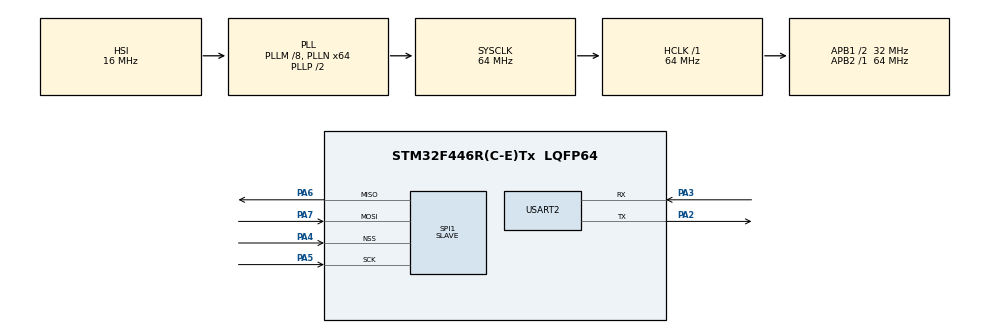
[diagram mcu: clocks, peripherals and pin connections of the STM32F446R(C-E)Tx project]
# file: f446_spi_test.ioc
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Mcu.Family=STM32F4
Mcu.Name=STM32F446R(C-E)Tx
Mcu.Package=LQFP64
NVIC.PriorityGroup=NVIC_PRIORITYGROUP_4
PA2.Mode=Asynchronous
PA2.Signal=USART2_TX
PA3.Mode=Asynchronous
PA3.Signal=USART2_RX
PA4.Mode=NSS_Signal_Hard_Input
PA4.Signal=SPI1_NSS
PA5.Mode=Full_Duplex_Slave
PA5.Signal=SPI1_SCK
PA6.Mode=Full_Duplex_Slave
PA6.Signal=SPI1_MISO
PA7.Mode=Full_Duplex_Slave
PA7.Signal=SPI1_MOSI
ProjectManager.HeapSize=0x200
ProjectManager.StackSize=0x400
ProjectManager.TargetToolchain=STM32CubeIDE
RCC.AHBFreq_Value=64000000
RCC.APB1CLKDivider=RCC_HCLK_DIV2
RCC.APB1Freq_Value=32000000
RCC.APB1TimFreq_Value=64000000
RCC.APB2Freq_Value=64000000
RCC.APB2TimFreq_Value=64000000
RCC.CortexFreq_Value=64000000
RCC.HCLKFreq_Value=64000000
RCC.PLLM=8
RCC.PLLN=64
RCC.SYSCLKFreq_VALUE=64000000
RCC.SYSCLKSource=RCC_SYSCLKSOURCE_PLLCLK
RCC.USBFreq_Value=64000000
RCC.VCOOutputFreq_Value=128000000
SPI1.CLKPhase=SPI_PHASE_1EDGE
SPI1.CLKPolarity=SPI_POLARITY_LOW
SPI1.Direction=SPI_DIRECTION_2LINES
SPI1.Mode=SPI_MODE_SLAVE
SPI1.VirtualNSS=VM_NSSHARD
SPI1.VirtualType=VM_SLAVE
USART2.VirtualMode=VM_ASYNC
board=custom

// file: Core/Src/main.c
/* USER CODE BEGIN Header */
/**
  ******************************************************************************
  * @file           : main.c
  * @brief          : Main program body
  ******************************************************************************
  * @attention
  *
  * <h2><center>&copy; Copyright (c) 2021 STMicroelectronics.
  * All rights reserved.</center></h2>
  *
  * This software component is licensed by ST under BSD 3-Clause license,
  * the "License"; You may not use this file except in compliance with the
  * License. You may obtain a copy of the License at:
  *                        opensource.org/licenses/BSD-3-Clause
  *
  ******************************************************************************
  */
/* USER CODE END Header */
#include "main.h"

SPI_HandleTypeDef hspi1;

UART_HandleTypeDef huart2;

void SystemClock_Config(void);
static void MX_GPIO_Init(void);
static void MX_SPI1_Init(void);
static void MX_USART2_UART_Init(void);

int main(void)
{

  /* MCU Configuration--------------------------------------------------------*/

  /* Reset of all peripherals, Initializes the Flash interface and the Systick. */
  HAL_Init();

  /* Configure the system clock */
  SystemClock_Config();

  /* Initialize all configured peripherals */
  MX_GPIO_Init();
  MX_SPI1_Init();
  MX_USART2_UART_Init();
  /* USER CODE BEGIN 2 */

  char rxbuf[]="Start SPI test\r\n";
  char enter[] = "\r\n";
  uint8_t txdata[9] = {0};
//  uint8_t aTxBuffer[] = {0};
  unsigned char aTxBuffer[] = {0};
  uint8_t aRxBuffer[2]={0};

  HAL_UART_Transmit(&huart2,(uint8_t*) rxbuf, sizeof(rxbuf), 100);

  /* USER CODE END 2 */

  /* Infinite loop */
  while (1)
  {

    /* USER CODE BEGIN 3 */

	  while(1){
	    //ラズパイからの応答まち
	 	HAL_SPI_TransmitReceive(&hspi1,(uint8_t*)aTxBuffer,(uint8_t*)aRxBuffer,1,100);
	 	 if(aRxBuffer[0]!=0){
	 		 aTxBuffer[0]=aRxBuffer[0];

	 		 break;
	 	  	}
	  	 }
	    //�?字化けを防ぐため文字�?�に置き換えてPCに送信
	  	 char PC_txdata[256]={'\0'};
	  	 sprintf(PC_txdata,"%s",aRxBuffer);
	  	aRxBuffer[0]=0;
	  	 HAL_UART_Transmit(&huart2,(uint8_t*)PC_txdata, sizeof(PC_txdata), 100);
	  	 HAL_UART_Transmit(&huart2,(uint8_t*) enter, sizeof(enter), 100);
  }
  /* USER CODE END 3 */
}

void SystemClock_Config(void)
{
  RCC_OscInitTypeDef RCC_OscInitStruct = {0};
  RCC_ClkInitTypeDef RCC_ClkInitStruct = {0};

  /** Configure the main internal regulator output voltage
  */
  __HAL_RCC_PWR_CLK_ENABLE();
  __HAL_PWR_VOLTAGESCALING_CONFIG(PWR_REGULATOR_VOLTAGE_SCALE3);
  /** Initializes the RCC Oscillators according to the specified parameters
  * in the RCC_OscInitTypeDef structure.
  */
  RCC_OscInitStruct.OscillatorType = RCC_OSCILLATORTYPE_HSI;
  RCC_OscInitStruct.HSIState = RCC_HSI_ON;
  RCC_OscInitStruct.HSICalibrationValue = RCC_HSICALIBRATION_DEFAULT;
  RCC_OscInitStruct.PLL.PLLState = RCC_PLL_ON;
  RCC_OscInitStruct.PLL.PLLSource = RCC_PLLSOURCE_HSI;
  RCC_OscInitStruct.PLL.PLLM = 8;
  RCC_OscInitStruct.PLL.PLLN = 64;
  RCC_OscInitStruct.PLL.PLLP = RCC_PLLP_DIV2;
  RCC_OscInitStruct.PLL.PLLQ = 2;
  RCC_OscInitStruct.PLL.PLLR = 2;
  if (HAL_RCC_OscConfig(&RCC_OscInitStruct) != HAL_OK)
  {
    Error_Handler();
  }
  /** Initializes the CPU, AHB and APB buses clocks
  */
  RCC_ClkInitStruct.ClockType = RCC_CLOCKTYPE_HCLK|RCC_CLOCKTYPE_SYSCLK
                              |RCC_CLOCKTYPE_PCLK1|RCC_CLOCKTYPE_PCLK2;
  RCC_ClkInitStruct.SYSCLKSource = RCC_SYSCLKSOURCE_PLLCLK;
  RCC_ClkInitStruct.AHBCLKDivider = RCC_SYSCLK_DIV1;
  RCC_ClkInitStruct.APB1CLKDivider = RCC_HCLK_DIV2;
  RCC_ClkInitStruct.APB2CLKDivider = RCC_HCLK_DIV1;

  if (HAL_RCC_ClockConfig(&RCC_ClkInitStruct, FLASH_LATENCY_2) != HAL_OK)
  {
    Error_Handler();
  }
}

static void MX_SPI1_Init(void)
{

  /* SPI1 parameter configuration*/
  hspi1.Instance = SPI1;
  hspi1.Init.Mode = SPI_MODE_SLAVE;
  hspi1.Init.Direction = SPI_DIRECTION_2LINES;
  hspi1.Init.DataSize = SPI_DATASIZE_8BIT;
  hspi1.Init.CLKPolarity = SPI_POLARITY_LOW;
  hspi1.Init.CLKPhase = SPI_PHASE_1EDGE;
  hspi1.Init.NSS = SPI_NSS_HARD_INPUT;
  hspi1.Init.FirstBit = SPI_FIRSTBIT_MSB;
  hspi1.Init.TIMode = SPI_TIMODE_DISABLE;
  hspi1.Init.CRCCalculation = SPI_CRCCALCULATION_DISABLE;
  hspi1.Init.CRCPolynomial = 10;
  if (HAL_SPI_Init(&hspi1) != HAL_OK)
  {
    Error_Handler();
  }

}

static void MX_USART2_UART_Init(void)
{

  huart2.Instance = USART2;
  huart2.Init.BaudRate = 115200;
  huart2.Init.WordLength = UART_WORDLENGTH_8B;
  huart2.Init.StopBits = UART_STOPBITS_1;
  huart2.Init.Parity = UART_PARITY_NONE;
  huart2.Init.Mode = UART_MODE_TX_RX;
  huart2.Init.HwFlowCtl = UART_HWCONTROL_NONE;
  huart2.Init.OverSampling = UART_OVERSAMPLING_16;
  if (HAL_UART_Init(&huart2) != HAL_OK)
  {
    Error_Handler();
  }

}

static void MX_GPIO_Init(void)
{

  /* GPIO Ports Clock Enable */
  __HAL_RCC_GPIOA_CLK_ENABLE();

}

void Error_Handler(void)
{
  __disable_irq();
  while (1)
  {
  }
}

/************************ (C) COPYRIGHT STMicroelectronics *****END OF FILE****/
